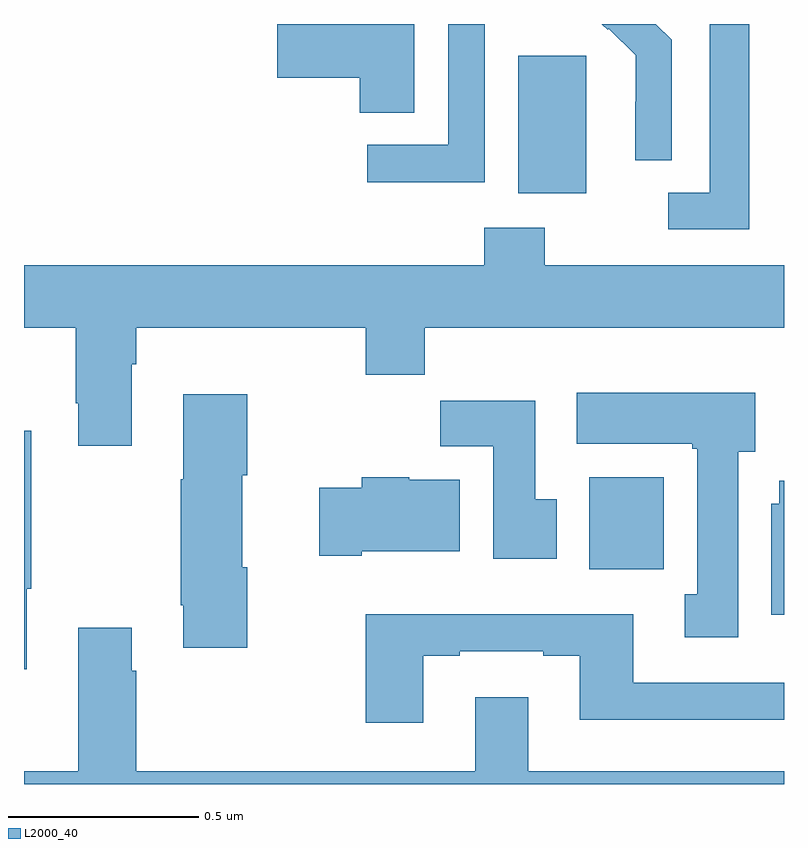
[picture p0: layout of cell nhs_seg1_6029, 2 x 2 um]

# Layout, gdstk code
import gdstk
lib = gdstk.Library(unit=1e-6, precision=1e-09)
def R(c, l, rs):  # rectangles x0, y0, x1, y1
    for r in rs: c.add(gdstk.rectangle(r[:2], r[2:], *l))
def P(c, l, *ps):  # polygons
    for p in ps: c.add(gdstk.Polygon(p, *l))
L2000_40 = (2000, 40)

nhs_seg1_6029 = lib.new_cell('nhs_seg1_6029')
R(nhs_seg1_6029, L2000_40, [(187.487,549.764,187.684,550.006), (187.301,550.754,187.48,551.115)])
P(nhs_seg1_6029, L2000_40, [(187.212,551.199),(187.116,551.199),(187.116,550.881),(186.903,550.881),(186.903,550.783),(187.212,550.783)],
  [(187.704,551.158),(187.663,551.199),(187.521,551.199),(187.536,551.184),(187.539,551.187),(187.61,551.117),(187.61,550.994),(187.608,550.994),(187.608,550.84),(187.704,550.84)],
  [(187.027,551.199),(186.666,551.199),(186.666,551.057),(186.884,551.057),(186.884,550.966),(187.027,550.966)],
  [(187.909,551.199),(187.805,551.199),(187.805,550.755),(187.695,550.755),(187.695,550.659),(187.909,550.659)],
  [(186.283,550.304),(186.296,550.304),(186.296,550.4),(186.899,550.4),(186.899,550.276),(187.055,550.276),(187.055,550.4),(188,550.4),(188,550.564),(187.371,550.564),(187.371,550.663),(187.211,550.663),(187.211,550.564),(186,550.564),(186,550.4),(186.136,550.4),(186.136,550.201),(186.143,550.201),(186.143,550.089),(186.283,550.089)],
  [(187.879,550.074),(187.924,550.074),(187.924,550.228),(187.455,550.228),(187.455,550.094),(187.759,550.094),(187.759,550.081),(187.772,550.081),(187.772,549.698),(187.739,549.698),(187.739,549.585),(187.879,549.585)],
  [(186.587,549.77),(186.574,549.77),(186.574,550.012),(186.587,550.012),(186.587,550.225),(186.419,550.225),(186.419,550.001),(186.412,550.001),(186.412,549.67),(186.419,549.67),(186.419,549.558),(186.587,549.558)],
  [(187.402,549.948),(187.345,549.948),(187.345,550.207),(187.096,550.207),(187.096,550.088),(187.235,550.088),(187.235,549.792),(187.402,549.792)],
  [(186.007,549.713),(186.019,549.713),(186.019,550.129),(186,550.129),(186,549.501),(186.007,549.501)],
  [(186.889,549.812),(187.147,549.812),(187.147,550),(187.014,550),(187.014,550.006),(186.889,550.006),(186.889,549.978),(186.777,549.978),(186.777,549.8),(186.889,549.8)],
  [(188,549.997),(187.988,549.997),(187.988,549.936),(187.967,549.936),(187.967,549.644),(188,549.644)],
  [(187.051,549.537),(187.147,549.537),(187.147,549.549),(187.367,549.549),(187.367,549.537),(187.463,549.537),(187.463,549.368),(188,549.368),(188,549.465),(187.603,549.465),(187.603,549.646),(186.899,549.646),(186.899,549.36),(187.051,549.36)],
  [(188,549.232),(187.327,549.232),(187.327,549.427),(187.187,549.427),(187.187,549.232),(186.296,549.232),(186.296,549.497),(186.283,549.497),(186.283,549.61),(186.143,549.61),(186.143,549.232),(186,549.232),(186,549.199),(188,549.199)])

lib.write_gds('nhs_seg1_6029.gds')
